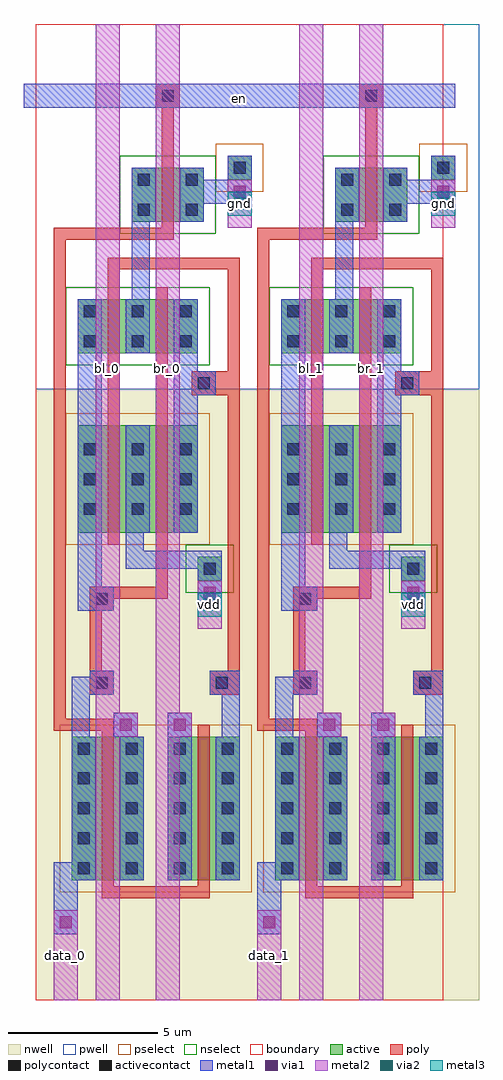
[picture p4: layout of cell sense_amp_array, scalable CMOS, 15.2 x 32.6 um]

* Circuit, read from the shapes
.subckt sense_amp_array bl_0 bl_1 br_0 br_1 data_0 data_1 en gnd vdd
M1 n1 n2 data_0 gnd nfet w=1.8u l=0.4u
M2 n2 data_0 n1 gnd nfet w=1.8u l=0.4u
M3 gnd en n1 gnd nfet w=1.8u l=0.4u
M4 n3 n4 data_1 gnd nfet w=1.8u l=0.4u
M5 n4 data_1 n3 gnd nfet w=1.8u l=0.4u
M6 gnd en n3 gnd nfet w=1.8u l=0.4u
M7 bl_0 en data_0 vdd pfet w=4.8u l=0.4u
M8 vdd n2 data_0 vdd pfet w=3.6u l=0.4u
M9 n2 data_0 vdd vdd pfet w=3.6u l=0.4u
M10 n2 en br_0 vdd pfet w=4.8u l=0.4u
M11 bl_1 en data_1 vdd pfet w=4.8u l=0.4u
M12 vdd n4 data_1 vdd pfet w=3.6u l=0.4u
M13 n4 data_1 vdd vdd pfet w=3.6u l=0.4u
M14 n4 en br_1 vdd pfet w=4.8u l=0.4u
.ends

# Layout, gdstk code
import gdstk
lib = gdstk.Library(unit=1e-6, precision=1e-09)
def R(c, l, rs):  # rectangles x0, y0, x1, y1
    for r in rs: c.add(gdstk.rectangle(r[:2], r[2:], *l))
def A(c, l, x, y, w, h, nx, ny, dx, dy):  # array of equal rectangles
    R(c, l, [(x+i*dx, y+j*dy, x+i*dx+w, y+j*dy+h) for i in range(nx) for j in range(ny)])
pwell = (41, 0)
nwell = (42, 0)
active = (43, 0)
pselect = (44, 0)
nselect = (45, 0)
poly = (46, 0)
polycontact = (47, 0)
activecontact = (48, 0)
metal1 = (49, 0)
via1 = (50, 0)
metal2 = (51, 0)
via2 = (61, 0)
metal3 = (62, 0)
boundary = (63, 0)

sense_amp = lib.new_cell('sense_amp')
R(sense_amp, pwell, [(0,20.4,8,32.6)])
R(sense_amp, nwell, [(0,0,8,20.4)])
R(sense_amp, active, [(1.2,4,3.6,8.8), (4.4,4,6.8,8.8), (5.4,14,6.2,14.8), (1.4,15.6,5.4,19.2), (1.4,21.6,5.4,23.4), (3.2,26,5.6,27.8), (6.4,27.4,7.2,28.2)])
R(sense_amp, pselect, [(0.8,3.6,7.2,9.2), (1,15.2,5.8,19.6), (6,27,7.6,28.6)])
R(sense_amp, nselect, [(5,13.6,6.6,15.2), (1,21.2,5.8,23.8), (2.8,25.6,6,28.2)])
R(sense_amp, poly, [(2.2,3.4,5.8,3.8), (2.2,3.8,2.6,9), (5.4,3.8,5.8,9.2), (0.6,9,2.6,9.4), (0.6,9.4,1,25.4), (1.8,10.2,2.6,11), (5.8,10.2,6.8,11), (1.8,11,2.2,13), (6.4,11,6.8,20.2), (1.8,13,2.6,13.4), (1.8,13.4,4.4,13.8), (4,13.8,4.4,23.8), (2.4,15.2,2.8,24.4), (5.2,20.2,6.8,21), (6.4,21,6.8,24.4), (2.4,24.4,6.8,24.8), (0.6,25.4,4.6,25.8), (4.2,25.8,4.6,29.8), (4,29.8,4.8,30.6)])
R(sense_amp, polycontact, [(2,10.4,2.4,10.8), (6,10.4,6.4,10.8), (2,13.2,2.4,13.6), (5.4,20.4,5.8,20.8), (4.2,30,4.6,30.4)])
A(sense_amp, activecontact, 1.4, 4.2, 0.4, 0.4, 4, 5, 1.6, 1)
A(sense_amp, activecontact, 1.6, 16.2, 0.4, 0.4, 3, 3, 1.6, 1)
A(sense_amp, activecontact, 1.6, 21.8, 0.4, 0.4, 3, 2, 1.6, 1)
R(sense_amp, activecontact, [(5.6,14.2,6,14.6), (3.4,26.2,3.8,26.6), (5,26.2,5.4,26.6), (3.4,27.2,3.8,27.6), (5,27.2,5.4,27.6), (6.6,27.6,7,28)])
R(sense_amp, metal1, [(0.6,2.2,1.4,4), (0.6,4,2,4.6), (2.8,4,3.6,8.8), (4.4,4,5.2,9.6), (6,4,6.8,8.8), (1.2,4.6,2,8.8), (1.2,8.8,1.8,10.2), (2.6,8.8,3.4,9.6), (6.2,8.8,6.8,10.2), (1.2,10.2,2.6,10.8), (5.8,10.2,6.8,11), (1.8,10.8,2.6,11), (1.4,13,2.6,13.8), (5.4,13.2,6.2,14.4), (1.4,13.8,2.2,23.4), (3,14.4,6.2,15), (3,15,3.6,15.6), (3,15.6,3.8,19.2), (4.6,15.6,5.4,20.2), (4.6,20.2,6,21), (4.6,21,5.4,23.4), (3,21.6,3.8,23.4), (3.2,23.4,3.8,26), (3.2,26,4,27.8), (4.8,26,5.6,26.6), (4.8,26.6,7.2,27.4), (4.8,27.4,5.6,27.8), (6.4,27.4,7.2,28.2), (-0.4,29.8,7.2,30.6), (-0.4,29.8,7.2,30.6)])
R(sense_amp, via1, [(0.8,2.4,1.2,2.8), (2.8,9,3.2,9.4), (4.6,9,5,9.4), (5.6,13.4,6,13.8), (6.6,26.8,7,27.2)])
R(sense_amp, metal2, [(0.6,0,1.4,3), (0.6,0,1.4,3), (2,0,2.8,8.8), (4,0,4.8,8.8), (2,8.8,3.4,9.6), (4,8.8,5.2,9.6), (2,9.6,2.8,32.6), (2,9.6,2.8,32.6), (4,9.6,4.8,32.6), (4,9.6,4.8,32.6), (5.4,12.4,6.2,14), (5.4,12.4,6.2,14), (6.4,25.8,7.2,27.4), (6.4,25.8,7.2,27.4)])
R(sense_amp, boundary, [(0,0,6.8,32.6)])
sense_amp.add(gdstk.Label('en', (0,29.8), layer=49, texttype=0))
sense_amp.add(gdstk.Label('gnd', (6.8,26.2), layer=51, texttype=0))
sense_amp.add(gdstk.Label('vdd', (5.8,12.8), layer=51, texttype=0))
sense_amp.add(gdstk.Label('bl', (2.4,32.2), layer=51, texttype=0))
sense_amp.add(gdstk.Label('br', (4.4,32.2), layer=51, texttype=0))
sense_amp.add(gdstk.Label('dout', (1,0.6), layer=51, texttype=0))
sense_amp.add(gdstk.Label('bl', (2.4,21.1), layer=51, texttype=0))
sense_amp.add(gdstk.Label('br', (4.4,21.1), layer=51, texttype=0))
sense_amp.add(gdstk.Label('dout', (1,1.5), layer=51, texttype=0))
sense_amp.add(gdstk.Label('en', (3.4,30.2), layer=49, texttype=0))
sense_amp.add(gdstk.Label('vdd', (5.8,13.2), layer=51, texttype=0))
sense_amp.add(gdstk.Label('gnd', (6.8,26.6), layer=51, texttype=0))

metal2_via2_metal3_1x1 = lib.new_cell('metal2_via2_metal3_1x1')
R(metal2_via2_metal3_1x1, metal2, [(0,0,0.8,0.8)])
R(metal2_via2_metal3_1x1, via2, [(0.2,0.2,0.6,0.6)])
R(metal2_via2_metal3_1x1, metal3, [(0,0,0.8,0.8)])

sense_amp_array = lib.new_cell('sense_amp_array')
R(sense_amp_array, metal1, [(0,29.8,13.6,30.4)])
R(sense_amp_array, metal2, [(0.6,0,1.4,3), (7.4,0,8.2,3), (2,9.6,2.8,32.6), (4,9.6,4.8,32.6), (8.8,9.6,9.6,32.6), (10.8,9.6,11.6,32.6)])
R(sense_amp_array, metal3, [(5.5,12.9,6.1,13.5), (12.3,12.9,12.9,13.5), (6.5,26.3,7.1,26.9), (13.3,26.3,13.9,26.9)])
sense_amp_array.add(gdstk.Reference(sense_amp, (0,0)))
sense_amp_array.add(gdstk.Reference(sense_amp, (6.8,0)))
sense_amp_array.add(gdstk.Reference(metal2_via2_metal3_1x1, (6.4,26.2)))
sense_amp_array.add(gdstk.Reference(metal2_via2_metal3_1x1, (5.4,12.8)))
sense_amp_array.add(gdstk.Reference(metal2_via2_metal3_1x1, (13.2,26.2)))
sense_amp_array.add(gdstk.Reference(metal2_via2_metal3_1x1, (12.2,12.8)))
sense_amp_array.add(gdstk.Label('gnd', (6.8,26.6), layer=62, texttype=0))
sense_amp_array.add(gdstk.Label('gnd', (13.6,26.6), layer=62, texttype=0))
sense_amp_array.add(gdstk.Label('vdd', (5.8,13.2), layer=62, texttype=0))
sense_amp_array.add(gdstk.Label('vdd', (12.6,13.2), layer=62, texttype=0))
sense_amp_array.add(gdstk.Label('bl_0', (2.4,21.1), layer=51, texttype=0))
sense_amp_array.add(gdstk.Label('br_0', (4.4,21.1), layer=51, texttype=0))
sense_amp_array.add(gdstk.Label('data_0', (1,1.5), layer=51, texttype=0))
sense_amp_array.add(gdstk.Label('bl_1', (9.2,21.1), layer=51, texttype=0))
sense_amp_array.add(gdstk.Label('br_1', (11.2,21.1), layer=51, texttype=0))
sense_amp_array.add(gdstk.Label('data_1', (7.8,1.5), layer=51, texttype=0))
sense_amp_array.add(gdstk.Label('en', (6.8,30.1), layer=49, texttype=0))

lib.write_gds('sense_amp_array.gds')
